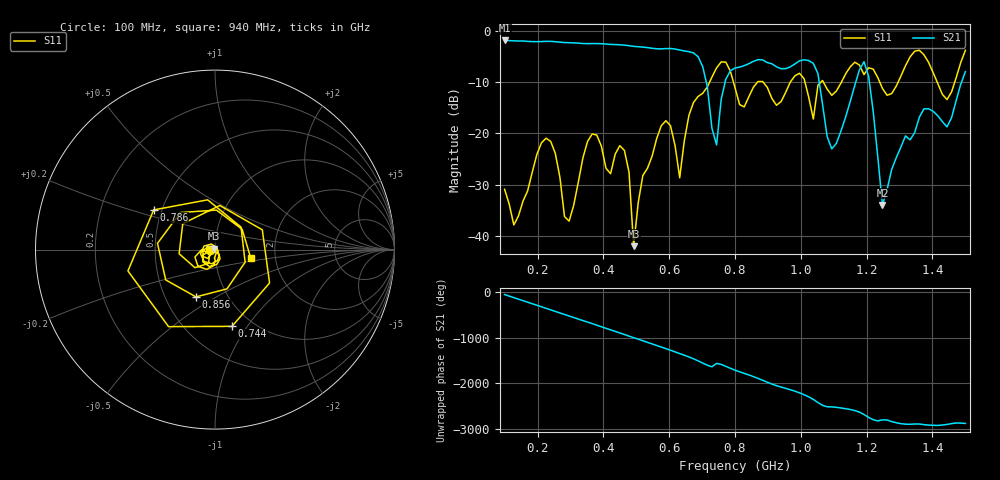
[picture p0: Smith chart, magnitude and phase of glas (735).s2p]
! NanoVNA-App
! Date: 2025-09-25 16:01:12
! Start: 100MHz Stop: 1,5GHz Points: 101
! S-Parameter data: F S11 S21 S12 S22
# Hz S RI R 50
!  Frequency  S11_Real  S11_Imag  S21_Real  S21_Imag  S12_Real  S12_Imag  S22_Real  S22_Imag
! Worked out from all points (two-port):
!   101 points, 100 MHz to 1.5 GHz, reference 50 ohm
!   highest |S21| = -1.80 dB at 100 MHz (marker M1); lowest = -34.0 dB at 1.248 GHz (marker M2)
!   |S21| within 3 dB of the highest: start of sweep to 684.5 MHz
!   lowest |S11| = -42.1 dB at 492 MHz (marker M3), VSWR 1.02, Z = 49.5 + j0.595 ohm
!   |S11| at or under -10 dB: start of sweep to 722.4 MHz; 795.5 MHz to 867.9 MHz (72.41 MHz wide, 8.71 % of centre); 886 MHz to 967.6 MHz (81.6 MHz wide, 8.8 % of centre) (the widest 3 of 7)
!   S12 and S22 are empty: the file has one direction only
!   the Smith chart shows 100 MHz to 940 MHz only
!   S11 on the Smith chart (normalised r, x): 100 MHz: 0.94, -0.01; 744 MHz: 0.81, -0.85; 786 MHz: 0.45, +0.24; 856 MHz: 0.71, -0.41; 940 MHz: 1.49, -0.15
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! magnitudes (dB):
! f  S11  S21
! 100 MHz  -30.9  -1.8
! 128 MHz  -37.9  -1.9
! 226 MHz  -20.9  -2.0
! 296 MHz  -37.2  -2.2
! 338 MHz  -24.8  -2.4
! 464 MHz  -23.3  -2.7
! 492 MHz  -42.1  -3.0
! 576 MHz  -18.5  -3.5
! 632 MHz  -28.7  -3.7
! 702 MHz  -12.1  -6.9
! 744 MHz  -7.2  -22.2
! 786 MHz  -7.8  -7.7
! 800 MHz  -11.1  -7.2
! 856 MHz  -10.9  -5.9
! 940 MHz  -13.8  -7.3
! 1.038 GHz  -17.2  -6.3
! 1.094 GHz  -12.5  -23.0
! 1.192 GHz  -8.5  -6.0
! 1.248 GHz  -11.2  -34.0
! 1.276 GHz  -12.2  -27.0
! 1.444 GHz  -13.4  -18.7
! 1.5 GHz  -3.7  -7.9
